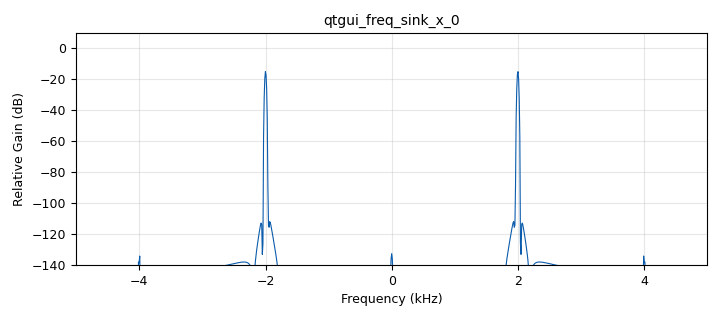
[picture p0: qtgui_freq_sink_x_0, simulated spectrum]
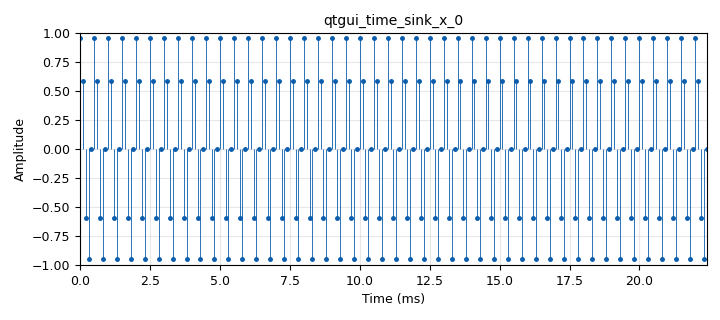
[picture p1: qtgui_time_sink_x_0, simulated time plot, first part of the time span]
options:
  parameters:
    author: Barry Duggan
    description: Sample Rate Demo
    generate_options: qt_gui
    id: gnu1
    output_language: python
    title: Sample Rate Demo
  states: {}

blocks:
- name: freq
  id: variable_qtgui_range
  parameters:
    label: Frequency
    orient: Qt.Horizontal
    start: '1000'
    step: '1000'
    stop: '40000'
    value: '2000'
  states: {}
- name: samp_rate
  id: variable_qtgui_range
  parameters:
    label: Frecuencia de muestreo
    orient: Qt.Horizontal
    start: '1000'
    step: '1000'
    stop: '80000'
    value: '10000'
  states: {}
- name: analog_sig_source_x_0
  id: analog_sig_source_x
  parameters:
    amp: '1'
    freq: freq
    offset: '0'
    phase: '0'
    samp_rate: samp_rate
    type: float
    waveform: analog.GR_SIN_WAVE
  states: {}
- name: blocks_throttle_0
  id: blocks_throttle
  parameters:
    samples_per_second: samp_rate
    type: float
  states: {}
- name: qtgui_freq_sink_x_0
  id: qtgui_freq_sink_x
  parameters:
    bw: samp_rate
    fc: '0'
    fftsize: '1024'
    type: float
    wintype: firdes.WIN_BLACKMAN_hARRIS
  states: {}
- name: qtgui_time_sink_x_0
  id: qtgui_time_sink_x
  parameters:
    color1: cyan
    marker1: '1'
    size: '1024'
    srate: samp_rate
    stemplot: 'True'
    type: float
  states: {}

connections:
- [analog_sig_source_x_0, '0', blocks_throttle_0, '0']
- [blocks_throttle_0, '0', qtgui_freq_sink_x_0, '0']
- [blocks_throttle_0, '0', qtgui_time_sink_x_0, '0']

metadata:
  file_format: 1
